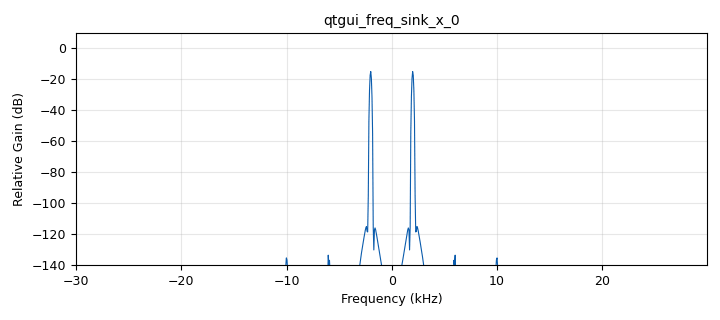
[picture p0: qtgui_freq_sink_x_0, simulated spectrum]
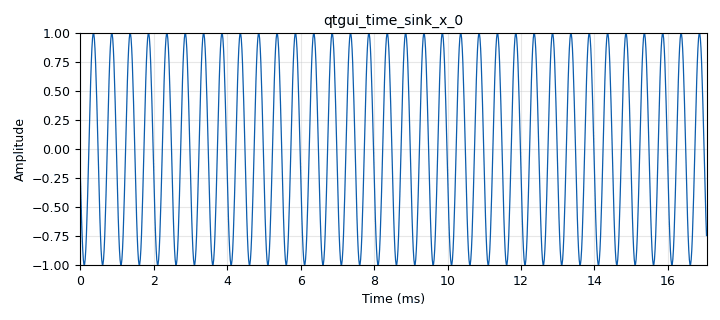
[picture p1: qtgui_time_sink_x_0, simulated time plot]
options:
  parameters:
    author: omar galvis y nicolas lenis
    copyright: UIS
    generate_options: qt_gui
    id: practica1
    output_language: python
    title: sample rate demo
  states: {}

blocks:
- name: f
  id: variable_qtgui_range
  parameters:
    label: frecuencia
    start: '0'
    step: '1'
    stop: '15000'
    value: '10000'
  states: {}
- name: samp_rate
  id: variable
  parameters:
    value: '60000'
  states: {}
- name: analog_sig_source_x_0
  id: analog_sig_source_x
  parameters:
    amp: '1'
    freq: '2000'
    offset: '0'
    phase: '0'
    samp_rate: samp_rate
    type: float
    waveform: analog.GR_SIN_WAVE
  states: {}
- name: blocks_throttle_0
  id: blocks_throttle
  parameters:
    samples_per_second: samp_rate
    type: float
  states: {}
- name: qtgui_freq_sink_x_0
  id: qtgui_freq_sink_x
  parameters:
    bw: samp_rate
    fc: '0'
    fftsize: '1024'
    type: float
  states: {}
- name: qtgui_time_sink_x_0
  id: qtgui_time_sink_x
  parameters:
    size: '1024'
    srate: samp_rate
    type: float
  states: {}

connections:
- [analog_sig_source_x_0, '0', blocks_throttle_0, '0']
- [blocks_throttle_0, '0', qtgui_freq_sink_x_0, '0']
- [blocks_throttle_0, '0', qtgui_time_sink_x_0, '0']

metadata:
  file_format: 1
